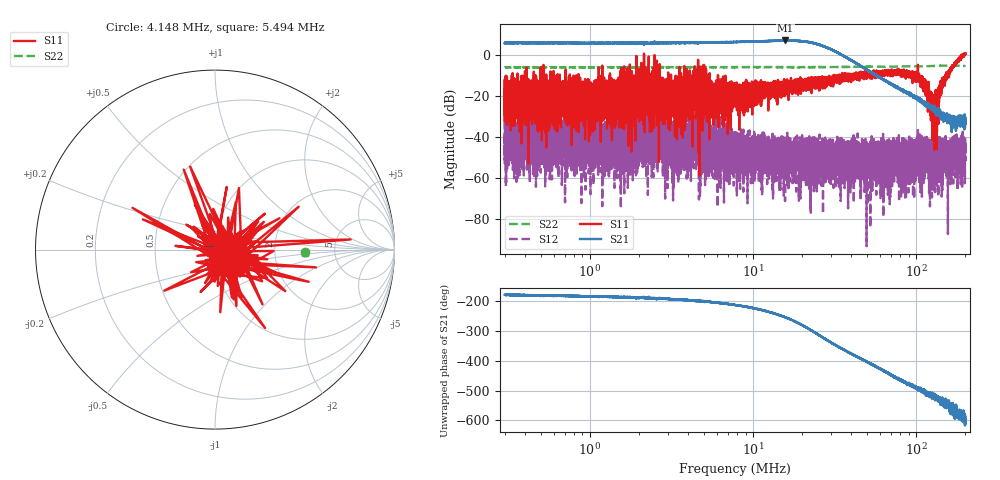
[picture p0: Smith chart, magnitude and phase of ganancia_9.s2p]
# Hz S DB R 50
! CMT, M5065, 19127446, 24.2.4/2
! Date: 11/1/2024 3:10:59 PM
! Data: Format (Calibration Info)
! Freq	S11:dB/Ang(F2)	S21:dB/Ang(F2)	S12:dB/Ang(F2)	S22:dB/Ang(F2)
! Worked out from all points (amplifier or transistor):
!   9000 points, 300 kHz to 200 MHz, reference 50 ohm
!   highest |S21| = 7.0 dB at 15.74 MHz (marker M1)
!   |S21| within 3 dB of that: start of sweep to 27.16 MHz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
!   unconditionally stable (mu >= 1): start of sweep to 2.145 MHz; 2.493 MHz to 189.2 MHz; 191.2 MHz to 193.6 MHz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
!   at 886.8 kHz: K = 802.71, MAG = 7.1 dB, |S12| = -72.5 dB
!   at 7.749 MHz: K = 34.97, MAG = 7.7 dB, |S12| = -45.9 dB
!   at 200 MHz: K = -394.55, MSG = 7.6 dB, |S12| = -46.1 dB
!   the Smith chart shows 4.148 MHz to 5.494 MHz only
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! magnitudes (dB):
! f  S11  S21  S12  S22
! 300 kHz  -20.8  5.8  -31.8  -6.1
! 310.1 kHz  -15.5  5.8  -41.5  -6.0
! 358.9 kHz  -21.6  5.7  -39.8  -6.1
! 451.6 kHz  -26.7  5.8  -40.0  -6.1
! 545.3 kHz  -19.1  5.8  -49.3  -6.0
! 606.4 kHz  -20.8  5.8  -44.0  -6.0
! 886.8 kHz  -27.0  5.8  -72.5  -6.0
! 1.842 MHz  -12.4  5.6  -44.6  -6.0
! 2.059 MHz  -23.7  5.8  -50.4  -6.0
! 2.621 MHz  -31.9  5.8  -37.9  -6.0
! 3.086 MHz  -16.7  5.7  -47.0  -6.0
! 4.303 MHz  -17.5  5.9  -50.1  -6.0
! 7.749 MHz  -17.0  6.3  -45.9  -6.0
! 15.74 MHz  -13.4  7.0  -42.5  -6.0
! 22.91 MHz  -12.3  5.9  -60.2  -6.0
! 67.71 MHz  -8.8  -13.5  -55.9  -5.7
! 104.7 MHz  -13.3  -22.8  -51.0  -5.6
! 113.2 MHz  -17.2  -23.6  -50.8  -5.6
! 129.6 MHz  -24.6  -27.0  -48.8  -5.4
! 148.9 MHz  -11.3  -28.7  -52.1  -5.3
! 184.9 MHz  -2.4  -32.3  -52.4  -5.4
! 200 MHz  0.6  -30.8  -46.1  -5.4
